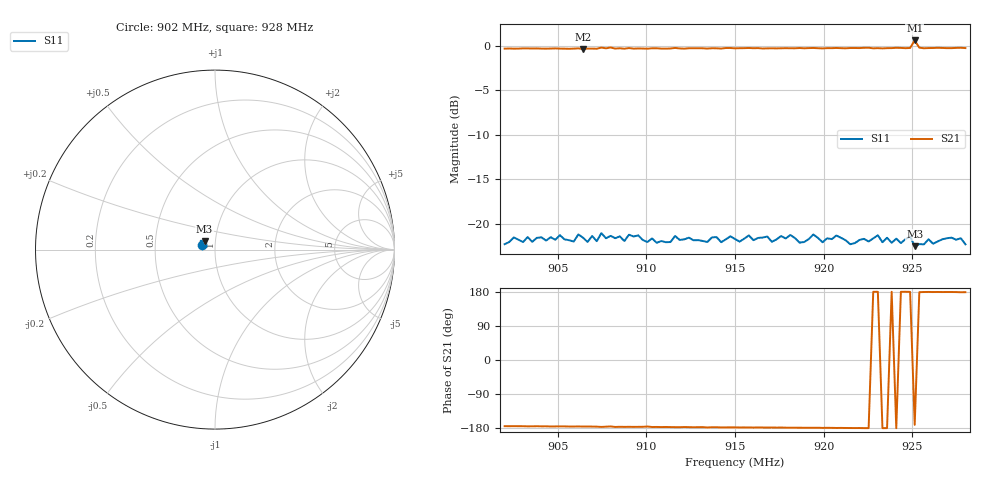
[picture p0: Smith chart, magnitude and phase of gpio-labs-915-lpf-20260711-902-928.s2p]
# HZ S RI R 50
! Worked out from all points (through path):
!   101 points, 902 MHz to 928 MHz, reference 50 ohm
!   highest |S21| = 0.58 dB at 925.14 MHz (marker M1); lowest = -0.4 dB at 906.42 MHz (marker M2)
!   lowest |S11| = -22.5 dB at 925.14 MHz (marker M3), VSWR 1.16, Z = 44.3 + j4.29 ohm
!   |S11| at or under -10 dB: start of sweep to end of sweep
!   S12 and S22 are empty: the file has one direction only
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9.02e8  -0.0722 0.0269  -0.9572 -0.091  0 0  0 0
9.0252e8  -0.0784 0.0306  -0.957 -0.0911  0 0  0 0
9.0642e8  -0.0777 0.0319  -0.954 -0.0734  0 0  0 0
9.072e8  -0.0761 0.0252  -0.9576 -0.0686  0 0  0 0
9.0746e8  -0.0828 0.0323  -0.9731 -0.0587  0 0  0 0
9.1084e8  -0.0752 0.0283  -0.9607 -0.0503  0 0  0 0
9.15e8  -0.0765 0.0307  -0.9646 -0.037  0 0  0 0
9.1682e8  -0.0759 0.0386  -0.9645 -0.0295  0 0  0 0
9.1708e8  -0.0718 0.0344  -0.9651 -0.0321  0 0  0 0
9.1812e8  -0.079 0.0359  -0.9661 -0.0234  0 0  0 0
9.1864e8  -0.0712 0.0334  -0.969 -0.0213  0 0  0 0
9.1942e8  -0.0789 0.0377  -0.9696 -0.0191  0 0  0 0
9.1994e8  -0.0699 0.037  -0.9641 -0.0143  0 0  0 0
9.2072e8  -0.0775 0.0377  -0.9699 -0.0109  0 0  0 0
9.215e8  -0.0684 0.0355  -0.9694 -0.00846  0 0  0 0
9.2306e8  -0.0757 0.0418  -0.9678 6.61e-05  0 0  0 0
9.2384e8  -0.0686 0.0383  -0.9682 0.000204  0 0  0 0
9.2488e8  -0.0746 0.0409  -0.9698 0.00285  0 0  0 0
9.2514e8  -0.0577 0.0481  -1.056 -0.1643  0 0  0 0
9.254e8  -0.0698 0.033  -0.9735 0.0166  0 0  0 0
9.2722e8  -0.0725 0.0421  -0.9678 0.0098  0 0  0 0
9.28e8  -0.067 0.0379  -0.9684 0.0177  0 0  0 0
